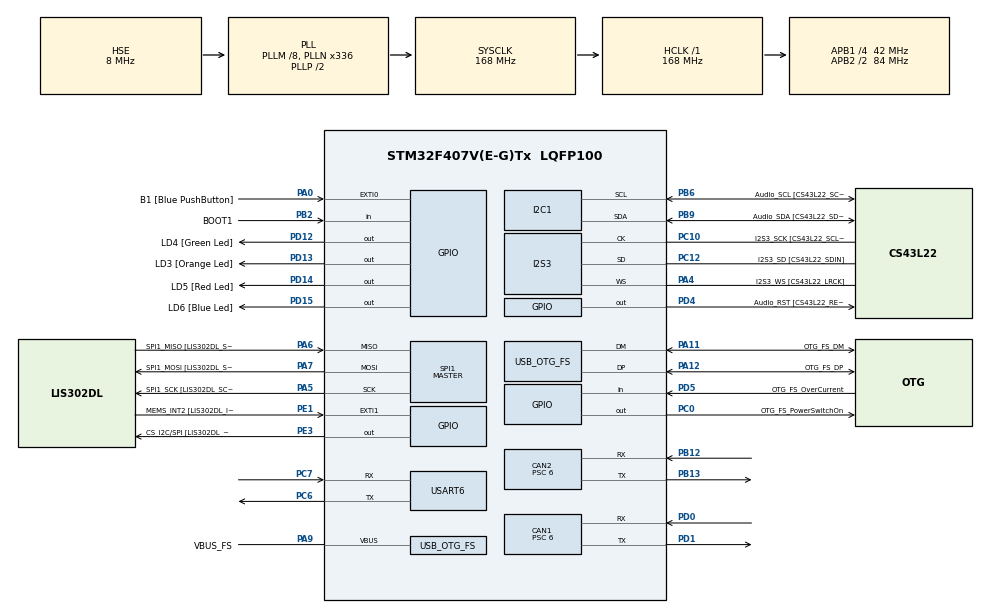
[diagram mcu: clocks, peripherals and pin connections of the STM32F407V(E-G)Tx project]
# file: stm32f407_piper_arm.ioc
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CAN1.BS1=CAN_BS1_11TQ
CAN1.BS2=CAN_BS2_2TQ
CAN1.CalculateBaudRate=500000
CAN1.CalculateTimeBit=2000
CAN1.CalculateTimeQuantum=142.85714285714286
CAN1.Prescaler=6
CAN2.BS1=CAN_BS1_11TQ
CAN2.BS2=CAN_BS2_2TQ
CAN2.CalculateBaudRate=500000
CAN2.CalculateTimeBit=2000
CAN2.CalculateTimeQuantum=142.85714285714286
CAN2.Prescaler=6
I2S3.ErrorAudioFreq=-2.34 %
I2S3.FullDuplexMode=I2S_FULLDUPLEXMODE_DISABLE
I2S3.Instance=SPI$Index
I2S3.RealAudioFreq=93.75 KHz
I2S3.VirtualMode=I2S_MODE_MASTER
Mcu.Family=STM32F4
Mcu.Name=STM32F407V(E-G)Tx
Mcu.Package=LQFP100
NVIC.CAN1_RX0_IRQn=true\:0\:0\:false\:false\:true\:true\:true\:true
NVIC.CAN2_RX1_IRQn=true\:0\:0\:false\:false\:true\:true\:true\:true
NVIC.OTG_FS_IRQn=true\:0\:0\:false\:false\:true\:true\:true\:true
NVIC.PriorityGroup=NVIC_PRIORITYGROUP_0
PA0-WKUP.GPIO_Label=B1 [Blue PushButton]
PA0-WKUP.GPIO_ModeDefaultEXTI=GPIO_MODE_EVT_RISING
PA0-WKUP.GPIO_PuPd=GPIO_NOPULL
PA0-WKUP.Signal=GPXTI0
PA10.GPIO_Label=OTG_FS_ID
PA10.GPIO_Mode=GPIO_MODE_AF_PP
PA10.GPIO_PuPd=GPIO_NOPULL
PA10.GPIO_Speed=GPIO_SPEED_FREQ_LOW
PA10.Signal=USB_OTG_FS_ID
PA11.GPIO_Label=OTG_FS_DM
PA11.GPIO_Mode=GPIO_MODE_AF_PP
PA11.GPIO_PuPd=GPIO_NOPULL
PA11.GPIO_Speed=GPIO_SPEED_FREQ_LOW
PA11.Mode=Host_Only
PA11.Signal=USB_OTG_FS_DM
PA12.GPIO_Label=OTG_FS_DP
PA12.GPIO_Mode=GPIO_MODE_AF_PP
PA12.GPIO_PuPd=GPIO_NOPULL
PA12.GPIO_Speed=GPIO_SPEED_FREQ_LOW
PA12.Mode=Host_Only
PA12.Signal=USB_OTG_FS_DP
PA13.GPIO_Label=SWDIO
PA13.Mode=Serial_Wire
PA13.Signal=SYS_JTMS-SWDIO
PA14.GPIO_Label=SWCLK
PA14.Mode=Serial_Wire
PA14.Signal=SYS_JTCK-SWCLK
PA4.GPIO_Label=I2S3_WS [CS43L22_LRCK]
PA4.GPIO_Mode=GPIO_MODE_AF_PP
PA4.GPIO_PuPd=GPIO_NOPULL
PA4.GPIO_Speed=GPIO_SPEED_FREQ_LOW
PA4.Mode=Half_Duplex_Master
PA4.Signal=I2S3_WS
PA5.GPIO_Label=SPI1_SCK [LIS302DL_SCL/SPC]
PA5.GPIO_Mode=GPIO_MODE_AF_PP
PA5.GPIO_PuPd=GPIO_NOPULL
PA5.GPIO_Speed=GPIO_SPEED_FREQ_LOW
PA5.Mode=Full_Duplex_Master
PA5.Signal=SPI1_SCK
PA6.GPIO_Label=SPI1_MISO [LIS302DL_SDO]
PA6.GPIO_Mode=GPIO_MODE_AF_PP
PA6.GPIO_PuPd=GPIO_NOPULL
PA6.GPIO_Speed=GPIO_SPEED_FREQ_LOW
PA6.Mode=Full_Duplex_Master
PA6.Signal=SPI1_MISO
PA7.GPIO_Label=SPI1_MOSI [LIS302DL_SDA/SDI/SDO]
PA7.GPIO_Mode=GPIO_MODE_AF_PP
PA7.GPIO_PuPd=GPIO_NOPULL
PA7.GPIO_Speed=GPIO_SPEED_FREQ_LOW
PA7.Mode=Full_Duplex_Master
PA7.Signal=SPI1_MOSI
PA9.GPIO_Label=VBUS_FS
PA9.GPIO_Mode=GPIO_MODE_INPUT
PA9.GPIO_PuPd=GPIO_NOPULL
PA9.Mode=Activate_VBUS
PA9.Signal=USB_OTG_FS_VBUS
PB10.GPIO_Label=CLK_IN [MP45DT02_CLK]
PB10.GPIO_Mode=GPIO_MODE_AF_PP
PB10.GPIO_PuPd=GPIO_NOPULL
PB10.GPIO_Speed=GPIO_SPEED_FREQ_LOW
PB10.Signal=I2S2_CK
PB12.Mode=CAN_Activate
PB12.Signal=CAN2_RX
PB13.Mode=CAN_Activate
PB13.Signal=CAN2_TX
PB2.GPIO_Label=BOOT1
PB2.GPIO_Mode=GPIO_MODE_INPUT
PB2.GPIO_PuPd=GPIO_NOPULL
PB2.Signal=GPIO_Input
PB3.GPIO_Label=SWO
PB3.Signal=SYS_JTDO-SWO
PB6.GPIO_Label=Audio_SCL [CS43L22_SCL]
PB6.GPIO_Mode=GPIO_MODE_AF_OD
PB6.GPIO_Pu=GPIO_PULLUP
PB6.GPIO_PuPd=GPIO_NOPULL
PB6.GPIO_Speed=GPIO_SPEED_FREQ_LOW
PB6.Mode=I2C
PB6.Signal=I2C1_SCL
PB9.GPIO_Label=Audio_SDA [CS43L22_SDA]
PB9.GPIO_Mode=GPIO_MODE_AF_OD
PB9.GPIO_Pu=GPIO_PULLUP
PB9.GPIO_PuPd=GPIO_NOPULL
PB9.GPIO_Speed=GPIO_SPEED_FREQ_LOW
PB9.Mode=I2C
PB9.Signal=I2C1_SDA
PC0.GPIO_Label=OTG_FS_PowerSwitchOn
PC0.GPIO_PuPd=GPIO_NOPULL
PC0.GPIO_Speed=GPIO_SPEED_FREQ_LOW
PC0.PinState=GPIO_PIN_SET
PC0.Signal=GPIO_Output
PC10.GPIO_Label=I2S3_SCK [CS43L22_SCLK]
PC10.GPIO_Mode=GPIO_MODE_AF_PP
PC10.GPIO_PuPd=GPIO_NOPULL
PC10.GPIO_Speed=GPIO_SPEED_FREQ_LOW
PC10.Mode=Half_Duplex_Master
PC10.Signal=I2S3_CK
PC12.GPIO_Label=I2S3_SD [CS43L22_SDIN]
PC12.GPIO_Mode=GPIO_MODE_AF_PP
PC12.GPIO_PuPd=GPIO_NOPULL
PC12.GPIO_Speed=GPIO_SPEED_FREQ_LOW
PC12.Mode=Half_Duplex_Master
PC12.Signal=I2S3_SD
PC14-OSC32_IN.GPIO_Label=PC14-OSC32_IN
PC14-OSC32_IN.Mode=LSE-External-Oscillator
PC14-OSC32_IN.Signal=RCC_OSC32_IN
PC15-OSC32_OUT.GPIO_Label=PC15-OSC32_OUT
PC15-OSC32_OUT.Mode=LSE-External-Oscillator
PC15-OSC32_OUT.Signal=RCC_OSC32_OUT
PC3.GPIO_Label=PDM_OUT [MP45DT02_DOUT]
PC3.GPIO_Mode=GPIO_MODE_AF_PP
PC3.GPIO_PuPd=GPIO_NOPULL
PC3.GPIO_Speed=GPIO_SPEED_FREQ_LOW
PC3.Signal=I2S2_SD
PC6.Mode=Asynchronous
PC6.Signal=USART6_TX
PC7.Mode=Asynchronous
PC7.Signal=USART6_RX
PD0.Mode=CAN_Activate
PD0.Signal=CAN1_RX
PD1.Mode=CAN_Activate
PD1.Signal=CAN1_TX
PD12.GPIO_Label=LD4 [Green Led]
PD12.GPIO_PuPd=GPIO_NOPULL
PD12.GPIO_Speed=GPIO_SPEED_FREQ_LOW
PD12.Signal=GPIO_Output
PD13.GPIO_Label=LD3 [Orange Led]
PD13.GPIO_PuPd=GPIO_NOPULL
PD13.GPIO_Speed=GPIO_SPEED_FREQ_LOW
PD13.Signal=GPIO_Output
PD14.GPIO_Label=LD5 [Red Led]
PD14.GPIO_PuPd=GPIO_NOPULL
PD14.GPIO_Speed=GPIO_SPEED_FREQ_LOW
PD14.Signal=GPIO_Output
PD15.GPIO_Label=LD6 [Blue Led]
PD15.GPIO_PuPd=GPIO_NOPULL
PD15.GPIO_Speed=GPIO_SPEED_FREQ_LOW
PD15.Signal=GPIO_Output
PD4.GPIO_Label=Audio_RST [CS43L22_RESET]
PD4.GPIO_PuPd=GPIO_NOPULL
PD4.GPIO_Speed=GPIO_SPEED_FREQ_LOW
PD4.Signal=GPIO_Output
PD5.GPIO_Label=OTG_FS_OverCurrent
PD5.GPIO_Mode=GPIO_MODE_INPUT
PD5.GPIO_PuPd=GPIO_NOPULL
PD5.Signal=GPIO_Input
PE1.GPIO_Label=MEMS_INT2 [LIS302DL_INT2]
PE1.GPIO_ModeDefaultEXTI=GPIO_MODE_EVT_RISING
PE1.GPIO_PuPd=GPIO_NOPULL
PE1.Signal=GPXTI1
PE3.GPIO_Label=CS_I2C/SPI [LIS302DL_CS_I2C/SPI]
PE3.GPIO_PuPd=GPIO_NOPULL
PE3.GPIO_Speed=GPIO_SPEED_FREQ_LOW
PE3.Signal=GPIO_Output
PH0-OSC_IN.GPIO_Label=PH0-OSC_IN
PH0-OSC_IN.Mode=HSE-External-Oscillator
PH0-OSC_IN.Signal=RCC_OSC_IN
PH1-OSC_OUT.GPIO_Label=PH1-OSC_OUT
PH1-OSC_OUT.Mode=HSE-External-Oscillator
PH1-OSC_OUT.Signal=RCC_OSC_OUT
ProjectManager.HeapSize=0x200
ProjectManager.StackSize=0x400
ProjectManager.TargetToolchain=STM32CubeIDE
RCC.48MHZClocksFreq_Value=48000000
RCC.AHBFreq_Value=168000000
RCC.APB1CLKDivider=RCC_HCLK_DIV4
RCC.APB1Freq_Value=42000000
RCC.APB1TimFreq_Value=84000000
RCC.APB2CLKDivider=RCC_HCLK_DIV2
RCC.APB2Freq_Value=84000000
RCC.APB2TimFreq_Value=168000000
RCC.CortexFreq_Value=168000000
RCC.HCLKFreq_Value=168000000
RCC.HSE_VALUE=8000000
RCC.HSI_VALUE=16000000
RCC.PLLM=8
RCC.PLLN=336
RCC.PLLQ=7
RCC.SYSCLKFreq_VALUE=168000000
RCC.SYSCLKSource=RCC_SYSCLKSOURCE_PLLCLK
RCC.VCOOutputFreq_Value=336000000
SPI1.BaudRatePrescaler-Full_Duplex_Master=SPI_BAUDRATEPRESCALER_2
SPI1.CalculateBaudRate-Full_Duplex_Master=42.0 MBits/s
SPI1.Direction=SPI_DIRECTION_2LINES
SPI1.Mode=SPI_MODE_MASTER
SPI1.Mode-Full_Duplex_Master=SPI_MODE_MASTER
SPI1.VirtualType=VM_MASTER
USART6.VirtualMode=VM_ASYNC
USB_HOST.BSP.number=1
USB_HOST.USBH_HandleTypeDef-CDC_FS=hUsbHostFS
USB_HOST.VirtualModeFS=Cdc
USB_HOST0.BSP.STBoard=false
USB_HOST0.BSP.api=Unknown
USB_HOST0.BSP.instance=PC0
USB_HOST0.BSP.ip=GPIO
USB_HOST0.BSP.mode=Output
USB_HOST0.BSP.name=Drive_VBUS_FS
USB_HOST0.BSP.solution=PC0
USB_OTG_FS.VirtualMode=Host_Only
USB_OTG_FS.phy_itface=HCD_PHY_EMBEDDED
VP_USB_HOST_VS_USB_HOST_CDC_FS.Mode=CDC_FS
board=STM32F407G-DISC1

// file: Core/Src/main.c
/* USER CODE BEGIN Header */
/**
  ******************************************************************************
  * @file           : main.c
  * @brief          : Main program body
  ******************************************************************************
  * @attention
  *
  * Copyright (c) 2025 STMicroelectronics.
  * All rights reserved.
  *
  * This software is licensed under terms that can be found in the LICENSE file
  * in the root directory of this software component.
  * If no LICENSE file comes with this software, it is provided AS-IS.
  *
  ******************************************************************************
  */
/* USER CODE END Header */
#include "main.h"
#include "can.h"
#include "i2c.h"
#include "i2s.h"
#include "spi.h"
#include "usart.h"
#include "usb_host.h"
#include "gpio.h"

/* USER CODE BEGIN Includes */
#include "stm32f4xx_hal.h"
#include <stdio.h>
/* USER CODE END Includes */

/* USER CODE BEGIN PTD */
extern CAN_HandleTypeDef hcan1;
extern CAN_HandleTypeDef hcan2;

CAN_TxHeaderTypeDef TxHeader1, TxHeader2;
CAN_RxHeaderTypeDef RxHeader1, RxHeader2;
/* USER CODE END PTD */

/* USER CODE BEGIN PV */
uint8_t TxData1[8] = {1, 2, 3, 4, 5, 6, 7, 8};
uint8_t TxData2[8] = {10, 20, 30, 40, 50, 60, 70, 80};

uint8_t RxData1[8];
uint8_t RxData2[8];

uint32_t TxMailbox1, TxMailbox2;
/* USER CODE END PV */

void SystemClock_Config(void);
void MX_USB_HOST_Process(void);

/* USER CODE BEGIN PFP */
void Init_TxHeaders(void);
void Init_CAN1_Filter(CAN_HandleTypeDef* hcan);
void Init_CAN2_Filter(CAN_HandleTypeDef* hcan);
/* USER CODE END PFP */

int main(void)
{

  /* MCU Configuration--------------------------------------------------------*/

  /* Reset of all peripherals, Initializes the Flash interface and the Systick. */
  HAL_Init();

  /* Configure the system clock */
  SystemClock_Config();

  /* Initialize all configured peripherals */
  MX_GPIO_Init();
  MX_I2C1_Init();
  MX_I2S3_Init();
  MX_SPI1_Init();
  MX_USB_HOST_Init();
  MX_CAN1_Init();
  MX_CAN2_Init();
  MX_USART6_UART_Init();
  /* USER CODE BEGIN 2 */
  Init_TxHeaders();
  Init_CAN1_Filter(&hcan1);
  Init_CAN2_Filter(&hcan2);

  HAL_CAN_Start(&hcan1);
  HAL_CAN_Start(&hcan2);

  HAL_CAN_ActivateNotification(&hcan1, CAN_IT_RX_FIFO0_MSG_PENDING);
  HAL_CAN_ActivateNotification(&hcan2, CAN_IT_RX_FIFO1_MSG_PENDING);

  uint32_t tick1 = HAL_GetTick();
  uint32_t tick2 = HAL_GetTick();

  /* USER CODE END 2 */

  /* Infinite loop */
  while (1)
  {
    MX_USB_HOST_Process();

    /* USER CODE BEGIN 3 */
    uint32_t now = HAL_GetTick();

    if (now - tick1 >= 1000)
    {
      HAL_CAN_AddTxMessage(&hcan1, &TxHeader1, TxData1, &TxMailbox1);
      tick1 = now;
    }

    if (now - tick2 >= 2000)
    {
      HAL_CAN_AddTxMessage(&hcan2, &TxHeader2, TxData2, &TxMailbox2);
      tick2 = now;
    }
  }
  /* USER CODE END 3 */
}

void SystemClock_Config(void)
{
  RCC_OscInitTypeDef RCC_OscInitStruct = {0};
  RCC_ClkInitTypeDef RCC_ClkInitStruct = {0};

  /** Configure the main internal regulator output voltage
  */
  __HAL_RCC_PWR_CLK_ENABLE();
  __HAL_PWR_VOLTAGESCALING_CONFIG(PWR_REGULATOR_VOLTAGE_SCALE1);

  /** Initializes the RCC Oscillators according to the specified parameters
  * in the RCC_OscInitTypeDef structure.
  */
  RCC_OscInitStruct.OscillatorType = RCC_OSCILLATORTYPE_HSE;
  RCC_OscInitStruct.HSEState = RCC_HSE_ON;
  RCC_OscInitStruct.PLL.PLLState = RCC_PLL_ON;
  RCC_OscInitStruct.PLL.PLLSource = RCC_PLLSOURCE_HSE;
  RCC_OscInitStruct.PLL.PLLM = 8;
  RCC_OscInitStruct.PLL.PLLN = 336;
  RCC_OscInitStruct.PLL.PLLP = RCC_PLLP_DIV2;
  RCC_OscInitStruct.PLL.PLLQ = 7;
  if (HAL_RCC_OscConfig(&RCC_OscInitStruct) != HAL_OK)
  {
    Error_Handler();
  }

  /** Initializes the CPU, AHB and APB buses clocks
  */
  RCC_ClkInitStruct.ClockType = RCC_CLOCKTYPE_HCLK|RCC_CLOCKTYPE_SYSCLK
                              |RCC_CLOCKTYPE_PCLK1|RCC_CLOCKTYPE_PCLK2;
  RCC_ClkInitStruct.SYSCLKSource = RCC_SYSCLKSOURCE_PLLCLK;
  RCC_ClkInitStruct.AHBCLKDivider = RCC_SYSCLK_DIV1;
  RCC_ClkInitStruct.APB1CLKDivider = RCC_HCLK_DIV4;
  RCC_ClkInitStruct.APB2CLKDivider = RCC_HCLK_DIV2;

  if (HAL_RCC_ClockConfig(&RCC_ClkInitStruct, FLASH_LATENCY_5) != HAL_OK)
  {
    Error_Handler();
  }
}

/* USER CODE BEGIN 4 */

void HAL_CAN_RxFifo0MsgPendingCallback(CAN_HandleTypeDef *hcan)
{
  printf("HAL_CAN_RxFifo0MsgPendingCallback\r\n");
  if (hcan -> Instance == CAN1)
  {
    HAL_CAN_GetRxMessage(hcan, CAN_RX_FIFO0, &RxHeader1, RxData1);
    printf("%d, %d, %d\r\n", RxData1[0], RxData1[1], RxData1[2]);
  }
}

void HAL_CAN_RxFifo1MsgPendingCallback(CAN_HandleTypeDef *hcan)
{
  printf("HAL_CAN_RxFifo1MsgPendingCallback\r\n");
  if (hcan -> Instance == CAN2)
  {
    HAL_CAN_GetRxMessage(hcan, CAN_RX_FIFO1, &RxHeader2, RxData2);
    printf("%d, %d, %d\r\n", RxData2[0], RxData2[1], RxData2[2]);
  }
}

void Init_TxHeaders(void)
{
  TxHeader1.DLC = 8;
  TxHeader1.StdId = 0x100;     // CAN1 -> CAN2 msg ID
  TxHeader1.ExtId = 0;
  TxHeader1.IDE = CAN_ID_STD;
  TxHeader1.RTR = CAN_RTR_DATA;
  TxHeader1.TransmitGlobalTime = DISABLE;

  TxHeader2.DLC = 8;
  TxHeader2.StdId = 0x200;     // CAN2 -> CAN1 msg ID
  TxHeader2.ExtId = 0;
  TxHeader2.IDE = CAN_ID_STD;
  TxHeader2.RTR = CAN_RTR_DATA;
  TxHeader2.TransmitGlobalTime = DISABLE;
}

void Init_CAN1_Filter(CAN_HandleTypeDef* hcan)
{
  CAN_FilterTypeDef canfil;
  canfil.FilterBank = 0;
  canfil.FilterMode = CAN_FILTERMODE_IDMASK;
  canfil.FilterFIFOAssignment = CAN_RX_FIFO0;
  canfil.FilterIdHigh = 0;
  canfil.FilterIdLow = 0;
  canfil.FilterScale = CAN_FILTERSCALE_32BIT;
  canfil.FilterActivation = ENABLE;
  canfil.SlaveStartFilterBank = 14;
  HAL_CAN_ConfigFilter(hcan, &canfil);
}

void Init_CAN2_Filter(CAN_HandleTypeDef* hcan)
{
  CAN_FilterTypeDef canfil;
  canfil.FilterBank = 14;
  canfil.FilterMode = CAN_FILTERMODE_IDMASK;
  canfil.FilterFIFOAssignment = CAN_RX_FIFO1;
  canfil.FilterIdHigh = 0;
  canfil.FilterIdLow = 0;
  canfil.FilterScale = CAN_FILTERSCALE_32BIT;
  canfil.FilterActivation = ENABLE;
  canfil.SlaveStartFilterBank = 14;
  HAL_CAN_ConfigFilter(hcan, &canfil);
}

/* USER CODE END 4 */

void Error_Handler(void)
{
  __disable_irq();
  while (1)
  {
  }
}
